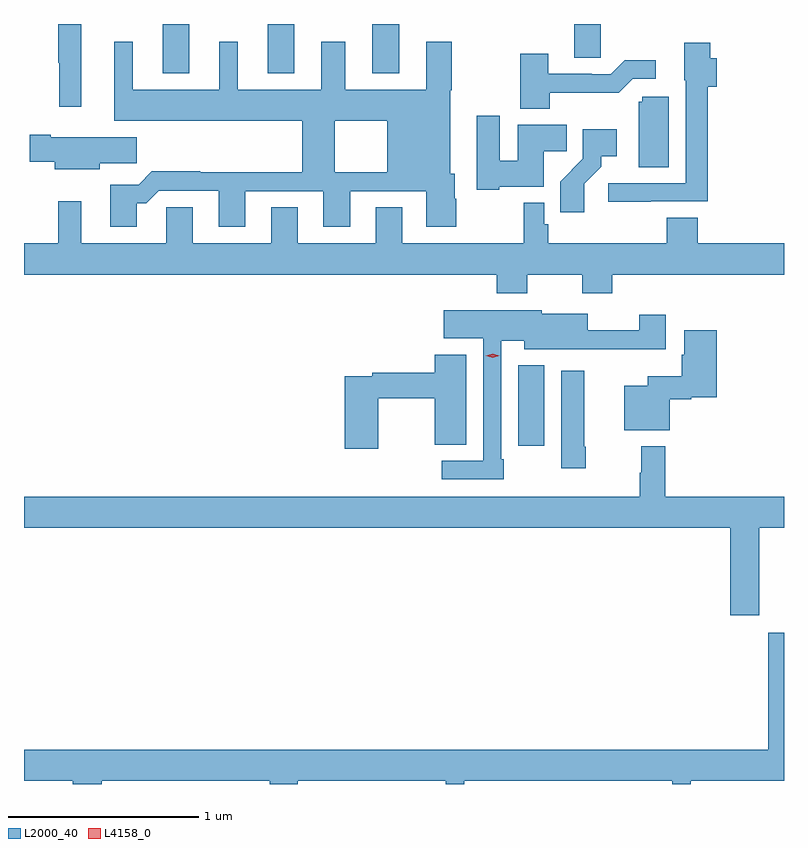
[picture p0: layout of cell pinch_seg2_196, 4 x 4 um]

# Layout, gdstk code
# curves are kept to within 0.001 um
import gdstk
lib = gdstk.Library(unit=1e-6, precision=1e-09)
def R(c, l, rs):  # rectangles x0, y0, x1, y1
    for r in rs: c.add(gdstk.rectangle(r[:2], r[2:], *l))
def A(c, l, x, y, w, h, nx, ny, dx, dy):  # array of equal rectangles
    R(c, l, [(x+i*dx, y+j*dy, x+i*dx+w, y+j*dy+h) for i in range(nx) for j in range(ny)])
def P(c, l, *ps):  # polygons
    for p in ps: c.add(gdstk.Polygon(p, *l))
L2000_40 = (2000, 40)
L4158_0 = (4158, 0)

pinch_seg2_196 = lib.new_cell('pinch_seg2_196')
A(pinch_seg2_196, L2000_40, 982.445, 663.347, 0.14, 0.26, 3, 1, 0.552, 0)
R(pinch_seg2_196, L2000_40, [(984.317,661.386,984.454,661.81), (984.611,663.43,984.75,663.607)])
P(pinch_seg2_196, L2000_40, [(982.015,663.607),(981.894,663.607),(981.894,663.404),(981.901,663.404),(981.901,663.171),(982.015,663.171)],
  [(982.643,662.831),(982.388,662.831),(982.318,662.761),(982.169,662.761),(982.169,662.541),(982.309,662.541),(982.309,662.663),(982.358,662.663),(982.425,662.73),(982.739,662.73),(982.739,662.541),(982.879,662.541),(982.879,662.727),(983.291,662.727),(983.291,662.541),(983.431,662.541),(983.431,662.727),(983.831,662.727),(983.831,662.541),(983.991,662.541),(983.991,662.687),(983.983,662.687),(983.983,662.82),(983.959,662.82),(983.959,663.258),(983.967,663.258),(983.967,663.514),(983.831,663.514),(983.831,663.262),(983.407,663.262),(983.407,663.514),(983.279,663.514),(983.279,663.262),(982.84,663.262),(982.84,663.514),(982.742,663.514),(982.742,663.262),(982.288,663.262),(982.288,663.514),(982.19,663.514),(982.19,663.098),(983.18,663.098),(983.18,662.828),(983.35,662.828),(983.35,663.098),(983.627,663.098),(983.627,662.828),(982.643,662.828)],
  [(985.013,662.673),(985.313,662.673),(985.313,663.278),(985.361,663.278),(985.361,663.426),(985.326,663.426),(985.326,663.508),(985.19,663.508),(985.19,663.312),(985.197,663.312),(985.197,662.769),(984.789,662.769),(984.789,662.671),(985.013,662.671)],
  [(984.483,663.246),(984.845,663.245),(984.918,663.318),(985.039,663.318),(985.039,663.415),(984.877,663.415),(984.804,663.342),(984.704,663.342),(984.704,663.345),(984.475,663.345),(984.475,663.451),(984.328,663.451),(984.328,663.161),(984.483,663.161)],
  [(985.108,663.225),(984.969,663.225),(984.969,663.198),(984.95,663.198),(984.95,662.854),(985.108,662.854)],
  [(984.216,662.75),(984.451,662.75),(984.451,662.938),(984.572,662.938),(984.572,663.076),(984.314,663.076),(984.314,662.888),(984.22,662.888),(984.22,663.124),(984.098,663.124),(984.098,662.735),(984.216,662.735)],
  [(984.664,662.767),(984.754,662.857),(984.754,662.912),(984.835,662.912),(984.835,663.052),(984.657,663.052),(984.657,662.897),(984.538,662.778),(984.538,662.616),(984.664,662.616)],
  [(982.114,662.875),(982.309,662.875),(982.309,663.01),(981.856,663.01),(981.856,663.023),(981.744,663.023),(981.744,662.881),(981.878,662.881),(981.878,662.843),(982.114,662.843)],
  [(984.363,662.288),(984.652,662.288),(984.652,662.189),(984.812,662.189),(984.812,662.288),(985.715,662.288),(985.715,662.452),(985.262,662.452),(985.262,662.588),(985.097,662.588),(985.097,662.452),(984.473,662.452),(984.473,662.553),(984.453,662.553),(984.453,662.665),(984.345,662.665),(984.345,662.452),(983.707,662.452),(983.707,662.642),(983.567,662.642),(983.567,662.452),(983.155,662.452),(983.155,662.642),(983.015,662.642),(983.015,662.452),(982.603,662.452),(982.603,662.642),(982.464,662.642),(982.464,662.452),(982.015,662.452),(982.015,662.674),(981.894,662.674),(981.894,662.452),(981.715,662.452),(981.715,662.288),(984.203,662.288),(984.203,662.189),(984.363,662.189)],
  [(984.241,661.315),(984.228,661.315),(984.228,661.94),(984.347,661.94),(984.347,661.895),(985.093,661.895),(985.093,662.077),(984.953,662.077),(984.953,661.994),(984.682,661.994),(984.682,662.083),(984.441,662.083),(984.441,662.101),(983.925,662.101),(983.925,661.952),(984.132,661.952),(984.132,661.308),(983.913,661.308),(983.913,661.212),(984.241,661.212)],
  [(985.114,661.631),(985.227,661.631),(985.227,661.643),(985.361,661.643),(985.361,661.996),(985.19,661.996),(985.19,661.866),(985.178,661.866),(985.178,661.753),(984.998,661.753),(984.998,661.702),(984.875,661.702),(984.875,661.469),(985.114,661.469)],
  [(983.58,661.636),(983.876,661.636),(983.876,661.393),(984.043,661.393),(984.043,661.867),(983.876,661.867),(983.876,661.772),(983.548,661.772),(983.548,661.752),(983.402,661.752),(983.402,661.371),(983.58,661.371)],
  [(984.672,661.381),(984.664,661.381),(984.664,661.783),(984.542,661.783),(984.542,661.269),(984.672,661.269)],
  [(985.585,660.956),(985.715,660.956),(985.715,661.12),(985.091,661.12),(985.091,661.384),(984.963,661.384),(984.963,661.244),(984.955,661.244),(984.955,661.12),(981.715,661.12),(981.715,660.956),(985.433,660.956),(985.433,660.495),(985.585,660.495)],
  [(982.123,659.624),(983.008,659.624),(983.008,659.607),(983.155,659.607),(983.155,659.624),(983.936,659.624),(983.936,659.607),(984.033,659.607),(984.033,659.624),(985.128,659.624),(985.128,659.607),(985.224,659.607),(985.224,659.624),(985.715,659.624),(985.715,660.403),(985.631,660.403),(985.631,659.788),(981.715,659.788),(981.715,659.624),(981.971,659.624),(981.971,659.607),(982.123,659.607)])
P(pinch_seg2_196, L4158_0, [(984.181,661.851),(984.146,661.861),(984.146,661.862),(984.146,661.862),(984.181,661.871),(984.215,661.861),(984.215,661.861),(984.215,661.86)])

lib.write_gds('pinch_seg2_196.gds')
